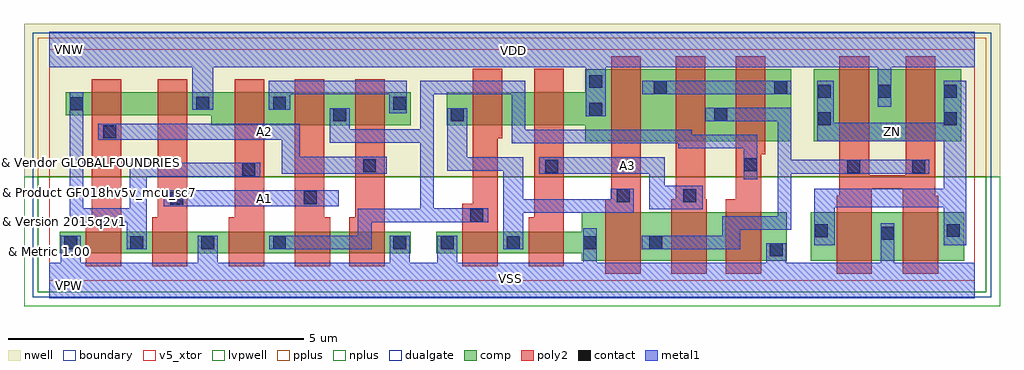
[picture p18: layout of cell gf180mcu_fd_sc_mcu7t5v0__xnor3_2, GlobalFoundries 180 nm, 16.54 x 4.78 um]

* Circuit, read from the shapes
.subckt gf180mcu_fd_sc_mcu7t5v0__xnor3_2 A1 A2 A3 VDD VNW VSS ZN
XM1 n1 A2 VSS VSUBS nfet_05v0 w=0.36u l=0.6u
XM2 VSS A1 n1 VSUBS nfet_05v0 w=0.36u l=0.6u
XM3 n2 n1 VSS VSUBS nfet_05v0 w=0.36u l=0.6u
XM4 n3 A1 n2 VSUBS nfet_05v0 w=0.36u l=0.6u
XM5 VSS A2 n3 VSUBS nfet_05v0 w=0.36u l=0.6u
XM6 n4 n2 VSS VSUBS nfet_05v0 w=0.36u l=0.6u
XM7 VSS A3 n4 VSUBS nfet_05v0 w=0.36u l=0.6u
XM8 n5 n4 VSS VSUBS nfet_05v0 w=0.82u l=0.6u
XM9 n6 A3 n5 VSUBS nfet_05v0 w=0.82u l=0.6u
XM10 VSS n2 n6 VSUBS nfet_05v0 w=0.82u l=0.6u
XM11 VSS n5 ZN VSUBS nfet_05v0 w=0.82u l=0.6u m=2
XM12 n7 A2 n1 VNW pfet_05v0 w=0.385u l=0.5u
XM13 VDD A1 n7 VNW pfet_05v0 w=0.385u l=0.5u
XM14 n8 n1 VDD VNW pfet_05v0 w=0.56u l=0.5u
XM15 n2 A1 n8 VNW pfet_05v0 w=0.56u l=0.5u
XM16 n8 A2 n2 VNW pfet_05v0 w=0.56u l=0.5u
XM17 n9 n2 n4 VNW pfet_05v0 w=0.56u l=0.5u
XM18 VDD A3 n9 VNW pfet_05v0 w=0.56u l=0.5u
XM19 n10 n4 VDD VNW pfet_05v0 w=1.22u l=0.5u
XM20 n5 A3 n10 VNW pfet_05v0 w=1.22u l=0.5u
XM21 n10 n2 n5 VNW pfet_05v0 w=1.22u l=0.5u
XM22 VDD n5 ZN VNW pfet_05v0 w=1.22u l=0.5u m=2
.ends

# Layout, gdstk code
import gdstk
lib = gdstk.Library(unit=1e-6, precision=1e-09)
def R(c, l, rs):  # rectangles x0, y0, x1, y1
    for r in rs: c.add(gdstk.rectangle(r[:2], r[2:], *l))
def P(c, l, *ps):  # polygons
    for p in ps: c.add(gdstk.Polygon(p, *l))
boundary = (0, 0)
nwell = (21, 0)
comp = (22, 0)
poly2 = (30, 0)
pplus = (31, 0)
nplus = (32, 0)
contact = (33, 0)
metal1 = (34, 0)
dualgate = (55, 0)
v5_xtor = (112, 1)
lvpwell = (204, 0)

gf180mcu_fd_sc_mcu7t5v0_ = lib.new_cell('gf180mcu_fd_sc_mcu7t5v0__xnor3_2')
R(gf180mcu_fd_sc_mcu7t5v0_, boundary, [(0,0,15.68,3.92)])
R(gf180mcu_fd_sc_mcu7t5v0_, nwell, [(-0.43,1.76,16.11,4.35)])
R(gf180mcu_fd_sc_mcu7t5v0_, comp, [(12.9,0.34,15.5,1.16), (0.18,0.465,6.12,0.825), (12.95,2.36,15.45,3.58)])
P(gf180mcu_fd_sc_mcu7t5v0_, comp, [(9.02,0.34),(9.02,0.465),(6.56,0.465),(6.56,0.825),(9.02,0.825),(9.02,1.16),(12.5,1.16),(12.5,0.34)],
  [(9.08,2.36),(9.08,2.63),(6.735,2.63),(6.735,3.19),(9.08,3.19),(9.08,3.58),(12.575,3.58),(12.575,2.36)],
  [(2.74,2.63),(2.74,2.805),(0.28,2.805),(0.28,3.19),(6.12,3.19),(6.12,2.63)])
P(gf180mcu_fd_sc_mcu7t5v0_, poly2, [(13.34,0.12),(13.34,1.44),(13.39,1.44),(13.39,3.8),(13.89,3.8),(13.89,1.785),(14.51,1.785),(14.51,3.8),(15.01,3.8),(15.01,1.44),(15.06,1.44),(15.06,0.12),(14.46,0.12),(14.46,1.555),(13.94,1.555),(13.94,0.12)],
  [(11.46,0.12),(11.46,1.38),(11.635,1.38),(11.635,3.8),(12.135,3.8),(12.135,2.14),(12.06,2.14),(12.06,0.12)],
  [(10.54,0.12),(10.54,1.38),(10.615,1.38),(10.615,3.8),(11.115,3.8),(11.115,1.38),(11.14,1.38),(11.14,0.12)],
  [(7,0.245),(7,1.3),(7.175,1.3),(7.175,3.595),(7.675,3.595),(7.675,2.41),(7.6,2.41),(7.6,0.245)],
  [(9.42,0.12),(9.42,1.38),(9.52,1.38),(9.52,3.8),(10.02,3.8),(10.02,0.12)],
  [(4.16,0.245),(4.16,3.41),(4.66,3.41),(4.66,1.075),(4.76,1.075),(4.76,0.245)],
  [(8.12,0.245),(8.12,1.075),(8.22,1.075),(8.22,3.595),(8.72,3.595),(8.72,0.245)],
  [(0.62,0.245),(0.62,1.075),(0.72,1.075),(0.72,3.41),(1.22,3.41),(1.22,0.245)],
  [(1.74,0.245),(1.74,1.075),(1.84,1.075),(1.84,3.41),(2.34,3.41),(2.34,0.245)],
  [(3.04,0.245),(3.04,1.075),(3.14,1.075),(3.14,3.41),(3.64,3.41),(3.64,0.245)],
  [(5.08,0.245),(5.08,1.075),(5.18,1.075),(5.18,3.41),(5.68,3.41),(5.68,0.245)])
R(gf180mcu_fd_sc_mcu7t5v0_, pplus, [(-0.2,1.76,15.88,4.12)])
R(gf180mcu_fd_sc_mcu7t5v0_, nplus, [(-0.2,-0.2,15.88,1.76)])
R(gf180mcu_fd_sc_mcu7t5v0_, contact, [(12.21,0.41,12.43,0.63), (0.25,0.535,0.47,0.755), (1.37,0.535,1.59,0.755), (2.575,0.535,2.795,0.755), (3.79,0.535,4.01,0.755), (5.83,0.535,6.05,0.755), (6.63,0.535,6.85,0.755), (7.75,0.535,7.97,0.755), (9.05,0.535,9.27,0.755), (10.17,0.535,10.39,0.755), (14.09,0.695,14.31,0.915), (12.97,0.735,13.19,0.955), (15.21,0.74,15.43,0.96), (7.135,1,7.355,1.22), (2.05,1.29,2.27,1.51), (4.31,1.295,4.53,1.515), (9.615,1.33,9.835,1.55), (10.745,1.33,10.965,1.55), (3.27,1.77,3.49,1.99), (13.52,1.82,13.74,2.04), (14.62,1.82,14.84,2.04), (8.405,1.83,8.625,2.05), (5.315,1.84,5.535,2.06), (11.77,1.855,11.99,2.075), (0.91,2.415,1.13,2.635), (13.02,2.63,13.24,2.85), (15.16,2.63,15.38,2.85), (4.81,2.7,5.03,2.92), (6.805,2.7,7.025,2.92), (11.265,2.705,11.485,2.925), (9.15,2.795,9.37,3.015), (0.35,2.885,0.57,3.105), (2.49,2.9,2.71,3.12), (3.79,2.9,4.01,3.12), (5.83,2.9,6.05,3.12), (13.02,3.1,13.24,3.32), (14.04,3.1,14.26,3.32), (15.16,3.1,15.38,3.32), (10.245,3.165,10.465,3.385), (12.285,3.165,12.505,3.385), (9.15,3.265,9.37,3.485)])
R(gf180mcu_fd_sc_mcu7t5v0_, metal1, [(1.935,1.265,4.905,1.535), (10.045,3.16,12.575,3.39)])
P(gf180mcu_fd_sc_mcu7t5v0_, metal1, [(9.09,2.785),(9.09,3.62),(2.78,3.62),(2.78,2.895),(2.42,2.895),(2.42,3.62),(0,3.62),(0,4.22),(15.68,4.22),(15.68,3.62),(14.265,3.62),(14.265,2.95),(14.035,2.95),(14.035,3.62),(9.43,3.62),(9.43,2.785)],
  [(12.965,0.6),(12.965,1.56),(15.155,1.56),(15.155,2.36),(13.015,2.36),(13.015,3.39),(13.295,3.39),(13.295,2.68),(15.155,2.68),(15.155,3.39),(15.535,3.39),(15.535,0.6),(15.155,0.6),(15.155,1.24),(13.31,1.24),(13.31,0.6)],
  [(3.73,0.53),(3.73,0.76),(5.23,0.76),(5.23,1.22),(6.285,1.22),(6.285,2.335),(4.75,2.335),(4.75,2.925),(5.09,2.925),(5.09,2.565),(6.285,2.565),(6.285,3.39),(8.065,3.39),(8.065,2.555),(10.885,2.555),(10.885,2.47),(11.995,2.47),(11.995,1.715),(11.765,1.715),(11.765,2.24),(10.655,2.24),(10.655,2.325),(7.835,2.325),(7.835,3.155),(6.515,3.155),(6.515,1.225),(7.435,1.225),(7.435,0.99),(5.46,0.99),(5.46,0.53)],
  [(0,-0.3),(0,0.3),(0.19,0.3),(0.19,0.76),(0.53,0.76),(0.53,0.3),(2.515,0.3),(2.515,0.76),(2.855,0.76),(2.855,0.3),(5.77,0.3),(5.77,0.76),(6.11,0.76),(6.11,0.3),(6.57,0.3),(6.57,0.76),(6.91,0.76),(6.91,0.3),(9.045,0.3),(9.045,0.89),(9.275,0.89),(9.275,0.3),(12.15,0.3),(12.15,0.635),(12.49,0.635),(12.49,0.3),(14.085,0.3),(14.085,0.975),(14.315,0.975),(14.315,0.3),(15.68,0.3),(15.68,-0.3)],
  [(10.035,0.53),(10.035,0.765),(11.405,0.765),(11.405,1.095),(12.345,1.095),(12.345,2.7),(11.115,2.7),(11.115,2.93),(12.575,2.93),(12.575,2.045),(14.915,2.045),(14.915,1.815),(12.575,1.815),(12.575,0.865),(11.71,0.865),(11.71,0.53)],
  [(10.17,1.21),(10.17,1.815),(8.3,1.815),(8.3,2.095),(10.425,2.095),(10.425,1.61),(11.075,1.61),(11.075,1.21)],
  [(7.69,0.53),(7.69,1.86),(6.745,1.86),(6.745,2.925),(7.085,2.925),(7.085,2.095),(8.03,2.095),(8.03,1.38),(9.515,1.38),(9.515,1.555),(9.905,1.555),(9.905,1.15),(8.03,1.15),(8.03,0.53)],
  [(5.76,2.84),(5.76,3.155),(4.08,3.155),(4.08,2.895),(3.72,2.895),(3.72,3.39),(6.055,3.39),(6.055,2.84)],
  [(3.935,1.815),(3.935,2.385),(0.825,2.385),(0.825,2.655),(4.24,2.655),(4.24,2.1),(5.715,2.1),(5.715,1.815)],
  [(1.31,0.53),(1.31,0.99),(0.345,0.99),(0.345,3.19),(0.575,3.19),(0.575,1.225),(1.365,1.225),(1.365,1.995),(3.57,1.995),(3.57,1.765),(1.65,1.765),(1.65,0.53)])
R(gf180mcu_fd_sc_mcu7t5v0_, dualgate, [(-0.28,-0.28,15.96,4.2)])
R(gf180mcu_fd_sc_mcu7t5v0_, v5_xtor, [(0,0,15.68,3.92)])
R(gf180mcu_fd_sc_mcu7t5v0_, lvpwell, [(-0.43,-0.43,16.11,1.76)])
gf180mcu_fd_sc_mcu7t5v0_.add(gdstk.Label('A2', (3.64,2.52), layer=34, texttype=10))
gf180mcu_fd_sc_mcu7t5v0_.add(gdstk.Label('A1', (3.64,1.4), layer=34, texttype=10))
gf180mcu_fd_sc_mcu7t5v0_.add(gdstk.Label('ZN', (14.28,2.52), layer=34, texttype=10))
gf180mcu_fd_sc_mcu7t5v0_.add(gdstk.Label('VSS', (7.82,0.03), layer=34, texttype=10))
gf180mcu_fd_sc_mcu7t5v0_.add(gdstk.Label('VDD', (7.87,3.905), layer=34, texttype=10))
gf180mcu_fd_sc_mcu7t5v0_.add(gdstk.Label('A3', (9.8,1.96), layer=34, texttype=10))
gf180mcu_fd_sc_mcu7t5v0_.add(gdstk.Label('& Metric 1.00', (0,0.5), layer=63, texttype=63))
gf180mcu_fd_sc_mcu7t5v0_.add(gdstk.Label('& Version 2015q2v1', (0,1), layer=63, texttype=63))
gf180mcu_fd_sc_mcu7t5v0_.add(gdstk.Label('& Product GF018hv5v_mcu_sc7', (0,1.5), layer=63, texttype=63))
gf180mcu_fd_sc_mcu7t5v0_.add(gdstk.Label('& Vendor GLOBALFOUNDRIES', (0,2), layer=63, texttype=63))
gf180mcu_fd_sc_mcu7t5v0_.add(gdstk.Label('VNW', (0.345,3.92), layer=21, texttype=10))
gf180mcu_fd_sc_mcu7t5v0_.add(gdstk.Label('VPW', (0.34,-0.085), layer=204, texttype=10))

lib.write_gds('gf180mcu_fd_sc_mcu7t5v0__xnor3_2.gds')
